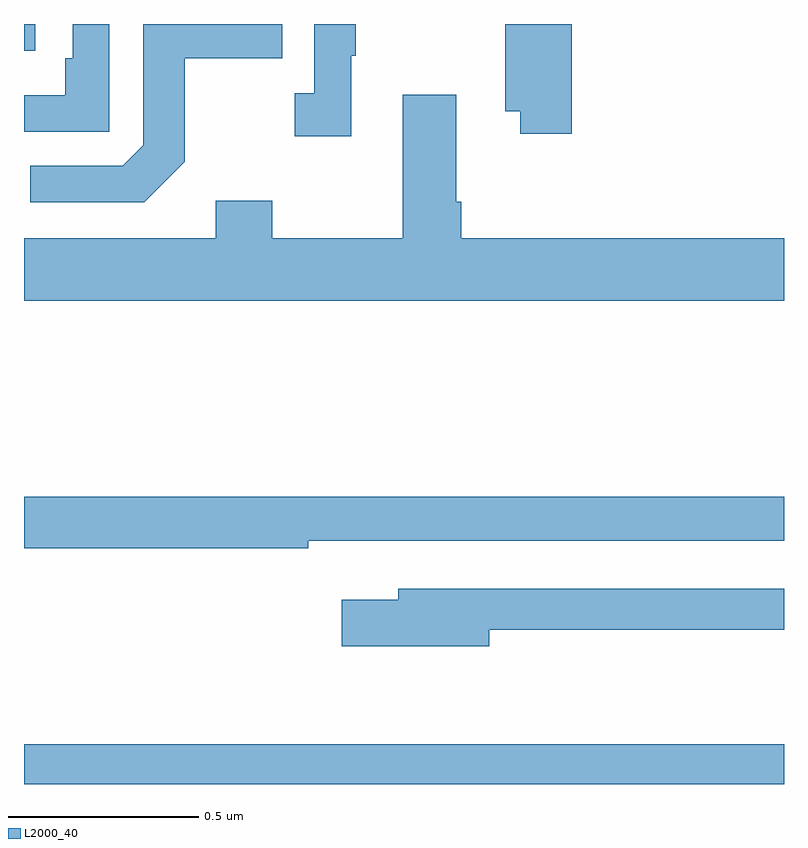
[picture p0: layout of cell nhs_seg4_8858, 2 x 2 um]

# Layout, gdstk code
import gdstk
lib = gdstk.Library(unit=1e-6, precision=1e-09)
def R(c, l, rs):  # rectangles x0, y0, x1, y1
    for r in rs: c.add(gdstk.rectangle(r[:2], r[2:], *l))
def P(c, l, *ps):  # polygons
    for p in ps: c.add(gdstk.Polygon(p, *l))
L2000_40 = (2000, 40)

nhs_seg4_8858 = lib.new_cell('nhs_seg4_8858')
R(nhs_seg4_8858, L2000_40, [(220,776.9,222,777.004), (220,778.83,220.03,778.9)])
P(nhs_seg4_8858, L2000_40, [(220.861,778.817),(220.873,778.817),(220.873,778.9),(220.764,778.9),(220.764,778.718),(220.713,778.718),(220.713,778.605),(220.861,778.605)],
  [(221.441,778.9),(221.266,778.9),(221.266,778.67),(221.306,778.67),(221.306,778.611),(221.441,778.611)],
  [(220.224,778.9),(220.128,778.9),(220.128,778.81),(220.108,778.81),(220.108,778.713),(220,778.713),(220,778.617),(220.224,778.617)],
  [(220.423,778.537),(220.423,778.81),(220.679,778.81),(220.679,778.9),(220.314,778.9),(220.314,778.581),(220.26,778.527),(220.017,778.527),(220.017,778.431),(220.317,778.431)],
  [(222,778.336),(221.15,778.336),(221.15,778.432),(221.137,778.432),(221.137,778.714),(220.997,778.714),(220.997,778.336),(220.653,778.336),(220.653,778.435),(220.505,778.435),(220.505,778.336),(220,778.336),(220,778.172),(222,778.172)],
  [(220.748,777.54),(222,777.54),(222,777.656),(220,777.656),(220,777.52),(220.748,777.52)],
  [(221.224,777.306),(222,777.306),(222,777.414),(220.985,777.414),(220.985,777.385),(220.836,777.385),(220.836,777.263),(221.224,777.263)])

lib.write_gds('nhs_seg4_8858.gds')
